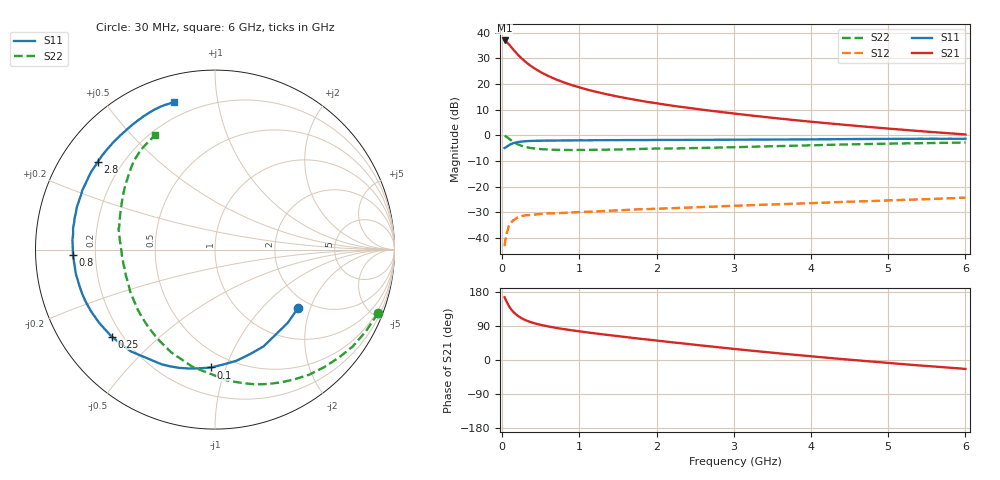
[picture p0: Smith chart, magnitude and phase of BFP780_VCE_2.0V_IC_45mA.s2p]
! Infineon Technologies  Discrete & RF Semiconductors
! BFP780
! VCE =  2.0 V,  IC =  45 mA
! Common Emitter S-Parameters:  Jul 2015
# GHz  S  MA  R  50
!  f  S11  S21  S12  S22
! GHz  MAG  ANG  MAG  ANG  MAG  ANG  MAG  ANG
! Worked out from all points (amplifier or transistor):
!   75 points, 30 MHz to 6 GHz, reference 50 ohm
!   highest |S21| = 36.9 dB at 30 MHz (marker M1)
!   |S21| within 3 dB of that: start of sweep to 127.7 MHz
!   unconditionally stable (mu >= 1): 2.076 GHz to end of sweep
!   at 150 MHz: K = 0.11, MSG = 33.1 dB, |S12| = -33.1 dB
!   at 2.3 GHz: K = 1.07, MAG = 18.1 dB, |S12| = -28.3 dB
!   at 6 GHz: K = 1.40, MAG = 8.5 dB, |S12| = -24.3 dB
!   S11 on the Smith chart (normalised r, x): 30 MHz: 1.73, -1.65; 100 MHz: 0.39, -0.89; 250 MHz: 0.16, -0.36; 800 MHz: 0.12, -0.02; 2.8 GHz: 0.11, +0.33; 6 GHz: 0.13, +0.75
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0.03  0.5656 -34.9  70.09 165.5  0.0069 71.6  0.9745 -21.3
0.05  0.5828 -55.1  66.78 156.2  0.0102 62.7  0.9381 -35.1
0.06  0.6034 -63.4  64.76 152.2  0.0129 67.6  0.916 -41.0
0.08  0.6311 -79.2  60.29 144.5  0.0164 58.1  0.8725 -53.0
0.1  0.6571 -91.9  55.59 138.1  0.0187 53.0  0.8264 -63.5
0.12  0.6786 -102.5  51.2 132.3  0.0204 46.3  0.7857 -72.9
0.15  0.7048 -114.9  45.3 125.4  0.0222 42.0  0.7308 -84.9
0.2  0.7363 -129.7  37.34 116.7  0.0252 33.4  0.6647 -100.9
0.25  0.7528 -139.9  31.46 110.2  0.0265 29.7  0.6223 -113.1
0.3  0.7635 -147.6  26.95 105.2  0.0275 27.0  0.591 -122.8
0.35  0.7713 -153.4  23.51 101.2  0.0279 24.2  0.5696 -130.6
0.45  0.78 -161.6  18.65 95.1  0.0288 21.2  0.5453 -142.0
0.6  0.787 -170.1  14.15 88.4  0.03 18.5  0.5268 -153.7
0.8  0.7922 -177.9  10.66 81.4  0.0307 17.9  0.5172 -164.0
1.1  0.7953 173.6  7.738 72.8  0.0322 17.9  0.5165 -174.3
1.5  0.8015 165.2  5.648 63.0  0.0343 18.3  0.5274 176.6
2.1  0.8097 154.4  3.963 49.0  0.0374 17.9  0.5484 166.5
2.8  0.8166 143.1  2.876 33.6  0.0409 17.5  0.5743 155.4
3.1  0.8196 138.5  2.543 27.3  0.0427 16.8  0.5894 150.9
4.1  0.8324 124.5  1.773 7.9  0.0482 15.3  0.6413 138.2
5.1  0.85 113.4  1.311 -9.4  0.0544 12.2  0.6885 127.3
6  0.8523 105.4  1.035 -23.5  0.0609 8.4  0.7191 117.5
